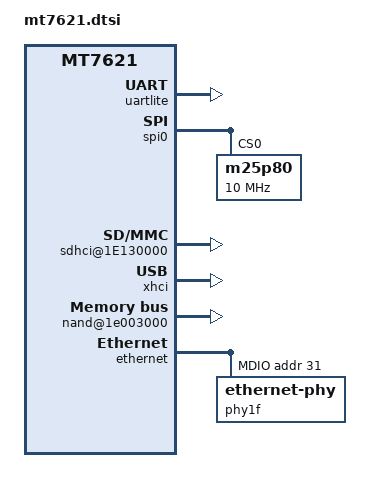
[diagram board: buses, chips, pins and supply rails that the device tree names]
/ {
	#address-cells = <1>;
	#size-cells = <1>;
	compatible = "mediatek,mtk7621-soc";

	aliases {
		serial0 = &uartlite;
	};

	cpus {
		cpu@0 {
			compatible = "mips,mips1004Kc";
		};

		cpu@1 {
			compatible = "mips,mips1004Kc";
		};
	};

	cpuintc: cpuintc@0 {
		#address-cells = <0>;
		#interrupt-cells = <1>;
		interrupt-controller;
		compatible = "mti,cpu-interrupt-controller";
	};

	palmbus@1E000000 {
		compatible = "palmbus";
		reg = <0x1E000000 0x100000>;
		ranges = <0x0 0x1E000000 0x0FFFFF>;

		#address-cells = <1>;
		#size-cells = <1>;

		sysc@0 {
			compatible = "mtk,mt7621-sysc";
			reg = <0x0 0x100>;
		};

		wdt@100 {
			compatible = "mtk,mt7621-wdt";
			reg = <0x100 0x100>;
		};

		gpio@600 {
			#address-cells = <1>;
			#size-cells = <0>;

			compatible = "mtk,mt7621-gpio";
			reg = <0x600 0x100>;

			interrupt-parent = <&gic>;
			interrupts = <12>;

			gpio0: bank@0 {
				reg = <0>;
				compatible = "mtk,mt7621-gpio-bank";
				gpio-controller;
				#gpio-cells = <2>;
			};

			gpio1: bank@1 {
				reg = <1>;
				compatible = "mtk,mt7621-gpio-bank";
				gpio-controller;
				#gpio-cells = <2>;
			};

			gpio2: bank@2 {
				reg = <2>;
				compatible = "mtk,mt7621-gpio-bank";
				gpio-controller;
				#gpio-cells = <2>;
			};
		};

		systick: systick@500 {
			compatible = "ralink,mt7621-systick", "ralink,cevt-systick";
			reg = <0x500 0x10>;

			resets = <&rstctrl 28>;
			reset-names = "intc";

			interrupt-parent = <&gic>;
			interrupts = <5>;
		};

		memc: memc@5000 {
			compatible = "mtk,mt7621-memc";
			reg = <0x5000 0x1000>;
		};

		cpc: cpc@1fbf0000 {
			compatible = "mtk,mt7621-cpc";
			reg = <0x1fbf0000 0x8000>;
		};

		mc: mc@1fbf8000 {
			compatible = "mtk,mt7621-mc";
			reg = <0x1fbf8000 0x8000>;
		};

		uartlite: uartlite@c00  {
			compatible = "ns16550a";
			reg = <0xc00 0x100>;

			interrupt-parent = <&gic>;
			interrupts = <26>;

			reg-shift = <2>;
			reg-io-width = <4>;
			no-loopback-test;
		};

		uartlite2: uartlite2@d00 {
			compatible = "ns16550a";
			reg = <0xd00 0x100>;

			interrupt-parent = <&gic>;
			interrupts = <27>;

			reg-shift = <2>;
			reg-io-width = <4>;

			pinctrl-names = "default";
			pinctrl-0 = <&uart2_pins>;

			status = "disabled";
		};

		uartlite3: uartlite3@e00 {
			compatible = "ns16550a";
			reg = <0xe00 0x100>;

			interrupt-parent = <&gic>;
			interrupts = <28>;

			reg-shift = <2>;
			reg-io-width = <4>;

			pinctrl-names = "default";
			pinctrl-0 = <&uart3_pins>;

			status = "disabled";
		};

		spi0: spi@b00 {
			status = "okay";

			compatible = "ralink,mt7621-spi";
			reg = <0xb00 0x100>;

			resets = <&rstctrl 18>;
			reset-names = "spi";

			#address-cells = <1>;
			#size-cells = <1>;

			pinctrl-names = "default";
			pinctrl-0 = <&spi_pins>;

			m25p80@0 {
				#address-cells = <1>;
				#size-cells = <1>;
				reg = <0 0>;
				spi-max-frequency = <10000000>;
				m25p,chunked-io = <32>;
			};
		};
	};

	pinctrl {
		compatible = "ralink,rt2880-pinmux";
		pinctrl-names = "default";
		pinctrl-0 = <&state_default>;
		state_default: pinctrl0 {
		};

		spi_pins: spi_pins {
			spi_pins {
				ralink,group = "spi";
				ralink,function = "spi";
			};
		};

		i2c_pins: i2c {
			i2c {
				ralink,group = "i2c";
				ralink,function = "i2c";
			};
		};

		uart1_pins: uart1 {
			uart1 {
				ralink,group = "uart1";
				ralink,function = "uart1";
			};
		};

		uart2_pins: uart2 {
			uart2 {
				ralink,group = "uart2";
				ralink,function = "uart2";
			};
		};

		uart3_pins: uart3 {
			uart3 {
				ralink,group = "uart3";
				ralink,function = "uart3";
			};
		};

		rgmii1_pins: rgmii1 {
			rgmii1 {
				ralink,group = "rgmii1";
				ralink,function = "rgmii1";
			};
		};

		rgmii2_pins: rgmii2 {
			rgmii2 {
				ralink,group = "rgmii2";
				ralink,function = "rgmii2";
			};
		};

		mdio_pins: mdio {
			mdio {
				ralink,group = "mdio";
				ralink,function = "mdio";
			};
		};

		pcie_pins: pcie {
			pcie {
				ralink,group = "pcie";
				ralink,function = "pcie rst";
			};
		};

		nand_pins: nand {
			spi-nand {
				ralink,group = "spi";
				ralink,function = "nand1";
			};

			sdhci-nand {
				ralink,group = "sdhci";
				ralink,function = "nand2";
			};
		};

		sdhci_pins: sdhci {
			sdhci {
				ralink,group = "sdhci";
				ralink,function = "sdhci";
			};
		};
	};

	rstctrl: rstctrl {
		compatible = "ralink,rt2880-reset";
		#reset-cells = <1>;
	};

	sdhci@1E130000 {
		compatible = "ralink,mt7620-sdhci";
		reg = <0x1E130000 4000>;

		interrupt-parent = <&gic>;
		interrupts = <20>;

		pinctrl-names = "default";
		pinctrl-0 = <&sdhci_pins>;
	};

	xhci: xhci@1E1C0000 {
		#address-cells = <1>;
		#size-cells = <0>;
		status = "okay";

		compatible = "mediatek,mt8173-xhci";
		reg = <0x1e1c0000 0x1000
		       0x1e1d0700 0x0100>;
		reg-names = "mac", "ippc";

		interrupt-parent = <&gic>;
		interrupts = <22>;

		/*
		 * Port 1 of both hubs is one usb slot and referenced here.
		 * The binding doesn't allow to address individual hubs.
		 * hub 1 - port 1 is ehci and ohci, hub 2 - port 1 is xhci.
		 */
		xhci_ehci_port1: port@1 {
			reg = <1>;
			#trigger-source-cells = <0>;
		};

		/*
		 * Only the second usb hub has a second port. That port serves
		 * ehci and ohci.
		 */
		ehci_port2: port@2 {
			reg = <2>;
			#trigger-source-cells = <0>;
		};
	};

	gic: gic@1fbc0000 {
		#address-cells = <0>;
		#interrupt-cells = <1>;
		interrupt-controller;
		compatible = "ralink,mt7621-gic";
		reg = < 0x1fbc0000 0x80 /* gic */
			0x1fbf0000 0x8000 /* cpc */
			0x1fbf8000 0x8000 /* gpmc */
		>;
	};

	nand@1e003000 {
		compatible = "mtk,mt7621-nand";
		bank-width = <2>;
		reg = <0x1e003000 0x800
			0x1e003800 0x800>;
		#address-cells = <1>;
		#size-cells = <1>;

		partition@0 {
			label = "uboot";
			reg = <0x00000 0x80000>; /* 64 KB */
		};
		partition@80000 {
			label = "uboot_env";
			reg = <0x80000 0x80000>; /* 64 KB */
		};
		partition@100000 {
			label = "factory";
			reg = <0x100000 0x40000>;
		};
		partition@140000 {
			label = "rootfs";
			reg = <0x140000 0xec0000>;
		};
	};

	ethernet: ethernet@1e100000 {
		compatible = "mediatek,mt7621-eth";
		reg = <0x1e100000 0x10000>;

		#address-cells = <1>;
		#size-cells = <1>;

		resets = <&rstctrl 6 &rstctrl 23>;
		reset-names = "fe", "eth";

		interrupt-parent = <&gic>;
		interrupts = <3>;

		mediatek,switch = <&gsw>;

		mdio-bus {
			#address-cells = <1>;
			#size-cells = <0>;

			phy1f: ethernet-phy@1f {
				reg = <0x1f>;
				phy-mode = "rgmii";
			};
		};
	};

	gsw: gsw@1e110000 {
		compatible = "mediatek,mt7621-gsw";
		reg = <0x1e110000 0x8000>;
		interrupt-parent = <&gic>;
		interrupts = <23>; 
	};

	pcie: pcie@1e140000 {
		compatible = "mediatek,mt7621-pci";
		reg = <0x1e140000 0x100
			0x1e142000 0x100>;

		#address-cells = <3>;
		#size-cells = <2>;

		pinctrl-names = "default";
		pinctrl-0 = <&pcie_pins>;

		device_type = "pci";

		bus-range = <0 255>;
		ranges = <
			0x02000000 0 0x00000000 0x60000000 0 0x10000000 /* pci memory */
			0x01000000 0 0x00000000 0x1e160000 0 0x00010000 /* io space */
		>;

 		interrupt-parent = <&gic>;
		interrupts = <4
				24
				25>;

		status = "disabled";

		resets = <&rstctrl 24 &rstctrl 25 &rstctrl 26>;
		reset-names = "pcie0", "pcie1", "pcie2";

		pcie0 {
			reg = <0x0000 0 0 0 0>;

			#address-cells = <3>;
			#size-cells = <2>;

			ranges;
		};

		pcie1 {
			reg = <0x0800 0 0 0 0>;

			#address-cells = <3>;
			#size-cells = <2>;

			ranges;
		};

		pcie2 {
			reg = <0x1000 0 0 0 0>;

			#address-cells = <3>;
			#size-cells = <2>;

			ranges;
		};
	};
};
